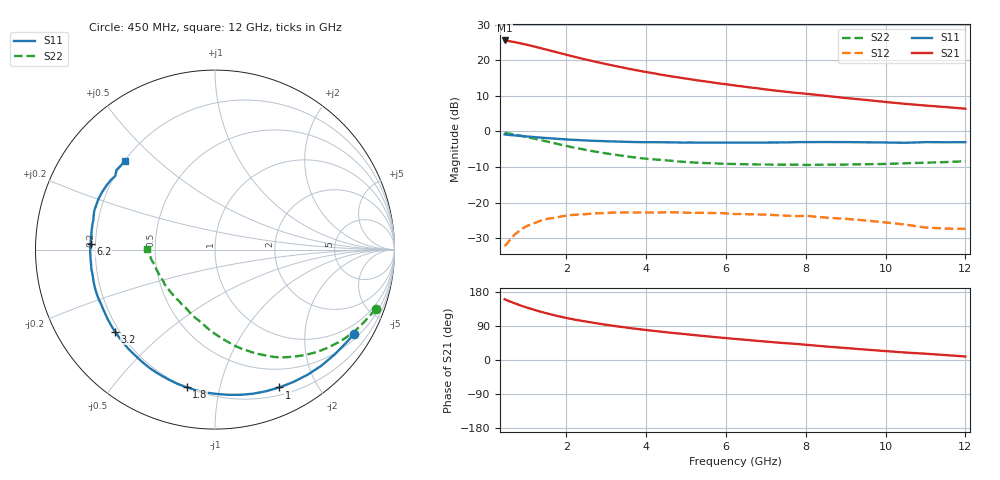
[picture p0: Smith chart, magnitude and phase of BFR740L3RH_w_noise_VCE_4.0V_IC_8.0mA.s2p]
! (c) 2012  Infineon Technologies AG, Munich
! Infineon Technologies  Discrete & RF Semiconductors
! BFR740L3RH
! VCE =  4.0 V,  IC =  8.0 mA
! Common Emitter S-Parameters:  May 2012
# GHz  S  MA  R  50
!  f  S11  S21  S12  S22
! GHz  MAG  ANG  MAG  ANG  MAG  ANG  MAG  ANG
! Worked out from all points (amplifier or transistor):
!   85 points, 450 MHz to 12 GHz, reference 50 ohm
!   highest |S21| = 25.5 dB at 450 MHz (marker M1)
!   |S21| within 3 dB of that: start of sweep to 1.648 GHz
!   unconditionally stable (mu >= 1): 8.444 GHz to end of sweep
!   at 1.8 GHz: K = 0.17, MSG = 23.1 dB, |S12| = -24.1 dB
!   at 4.6 GHz: K = 0.45, MSG = 19.1 dB, |S12| = -22.7 dB
!   at 12 GHz: K = 2.31, MAG = 10.5 dB, |S12| = -27.4 dB
!   lowest NFmin = 0.51 dB at 450 MHz
!   S11 on the Smith chart (normalised r, x): 450 MHz: 0.65, -3.46; 1 GHz: 0.28, -1.53; 1.8 GHz: 0.20, -0.79; 3.2 GHz: 0.18, -0.35; 6.2 GHz: 0.18, +0.02; 12 GHz: 0.20, +0.39
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0.45  0.907 -31.3  18.89 160.3  0.0244 76.7  0.9546 -20.3
0.6  0.8863 -41.3  18.34 153.7  0.0307 65.0  0.9227 -26.1
0.7  0.8772 -47.6  17.92 149.7  0.0354 61.6  0.902 -30.1
0.8  0.8671 -53.6  17.44 145.8  0.0393 58.6  0.8794 -33.9
1  0.8474 -65.0  16.47 138.7  0.0465 52.9  0.8337 -40.9
1.2  0.8301 -75.4  15.5 132.2  0.0515 47.4  0.7878 -47.4
1.4  0.8121 -84.9  14.51 126.1  0.0567 42.6  0.7432 -53.3
1.6  0.7985 -93.4  13.6 120.7  0.0601 38.3  0.7013 -58.9
1.8  0.7829 -101.7  12.7 115.5  0.0625 34.5  0.6601 -63.7
2.1  0.7637 -112.3  11.51 108.8  0.0665 29.8  0.6063 -70.4
2.4  0.7484 -121.5  10.46 103.0  0.0681 25.2  0.5614 -76.4
2.8  0.7327 -131.7  9.297 96.1  0.0708 20.6  0.5106 -83.3
3.2  0.7209 -140.7  8.321 89.9  0.0725 16.3  0.4712 -89.7
3.7  0.7076 -150.4  7.306 82.9  0.0725 12.6  0.4307 -97.1
4.3  0.7032 -159.7  6.359 75.6  0.0723 8.0  0.3997 -104.8
5.3  0.6953 -173.3  5.186 64.7  0.0718 2.6  0.3625 -117.2
6.2  0.694 177.2  4.424 55.9  0.0691 -1.0  0.3477 -127.7
6.3  0.6944 176.2  4.351 55.0  0.069 -1.5  0.3466 -128.8
7.2  0.6975 167.9  3.756 46.8  0.0667 -4.9  0.3408 -139.0
8.5  0.7079 156.5  3.152 35.7  0.0614 -9.4  0.3402 -152.8
10.5  0.6907 143.5  2.429 19.7  0.049 -11.6  0.3563 -169.7
12  0.7041 135.7  2.078 9.3  0.0427 -2.2  0.3805 179.9
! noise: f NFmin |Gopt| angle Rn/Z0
0.45  0.51  0.33  3  0.13
0.9  0.52  0.33  15  0.12
1.5  0.54  0.32  31  0.11
1.9  0.56  0.33  40  0.11
2.4  0.59  0.35  51  0.11
3.5  0.66  0.35  69  0.09
5.5  0.83  0.37  100  0.09
8  1.06  0.35  140  0.08
10  1.24  0.37  165  0.06
12  1.43  0.41  -161  0.06
